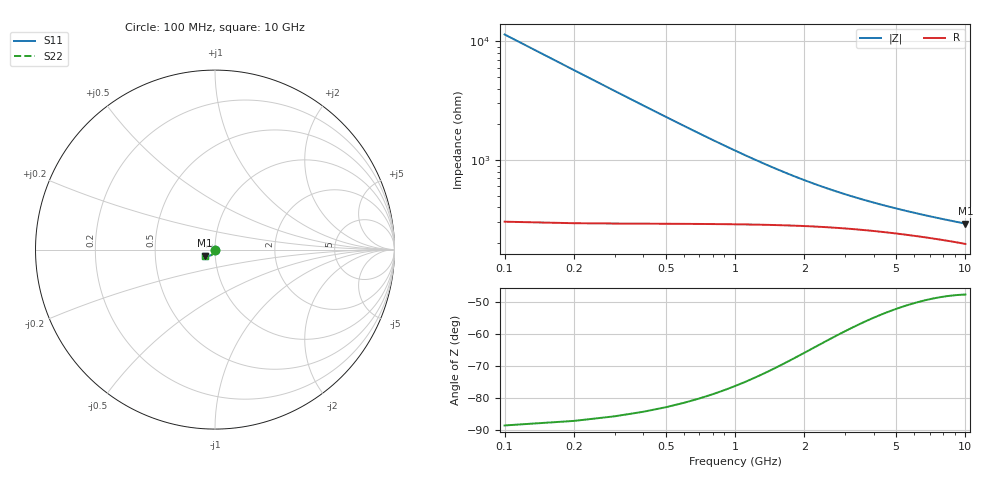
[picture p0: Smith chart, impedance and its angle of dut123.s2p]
! Touchstone file exported from HFSS 2024.1.0
!  File:  C:/UserFiles/LocalFiles/RDL_TSV_Batchsim/temp_TSV1_123_1778753543.aedt
!  Generated:  06:16:03 PM May 14, 2026
!  Design:  TSV1
!  Project:  temp_TSV1_123_1778753543
!  Setup:  Setup1
!  Solution:  Sweep
! Variables:
!  dtsv = 17.46um
!  hbump = 3um
!  htsv = 65.45um
!  lrdl = 252.1521522um
!  p = 40
!  p1 = 48.73um
!  t = 500um
!  trdl = 3um
!  wrdl = 24.89489489um
# GHz S MA R 50.000000
! Terminal data exported
! Port[1] = TSV22_T1
! Port[2] = TSV22_T2
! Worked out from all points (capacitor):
!   100 points, 100 MHz to 10 GHz, reference 50 ohm
!   read as one part in shunt: C = 139 fF near 100 MHz
!   lowest |Z| = 291 ohm at 10 GHz (marker M1)
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0.1  0.001911 -89.7  0.9999 -0.1  0.9999 -0.1  0.001911 -89.7
! Gamma 0 0 0 0
! Port Impedance 50 0 50 0
0.2  0.003813 -92.4  0.9997 -0.3  0.9997 -0.3  0.003813 -92.4
0.3  0.005703 -94.5  0.9994 -0.4  0.9994 -0.4  0.005703 -94.5
0.4  0.007574 -96.3  0.999 -0.6  0.999 -0.6  0.007574 -96.3
0.5  0.009421 -98.1  0.9985 -0.7  0.9985 -0.7  0.009421 -98.1
0.6  0.01124 -99.8  0.9979 -0.8  0.9979 -0.8  0.01124 -99.8
0.7  0.01302 -101.5  0.9972 -0.9  0.9972 -0.9  0.01302 -101.5
0.8  0.01476 -103.1  0.9964 -1.1  0.9964 -1.1  0.01476 -103.1
0.9  0.01647 -104.7  0.9956 -1.2  0.9956 -1.2  0.01647 -104.7
1.1  0.01973 -107.7  0.9937 -1.4  0.9937 -1.4  0.01973 -107.7
1.4  0.02425 -112.0  0.9907 -1.7  0.9907 -1.7  0.02425 -112.0
1.6  0.02701 -114.6  0.9885 -1.9  0.9885 -1.9  0.02701 -114.6
1.8  0.02957 -117.0  0.9864 -2.0  0.9864 -2.0  0.02957 -117.0
2.1  0.03306 -120.2  0.9833 -2.2  0.9833 -2.2  0.03306 -120.2
2.5  0.0371 -124.0  0.9793 -2.5  0.9793 -2.5  0.0371 -124.0
2.9  0.04055 -127.3  0.9756 -2.7  0.9756 -2.7  0.04055 -127.3
3.4  0.04422 -130.7  0.9715 -2.9  0.9715 -2.9  0.04422 -130.7
4.2  0.04898 -135.0  0.9658 -3.2  0.9658 -3.2  0.04898 -135.0
5.1  0.0532 -138.6  0.9605 -3.5  0.9605 -3.5  0.0532 -138.6
6.7  0.05888 -143.2  0.9532 -3.9  0.9532 -3.9  0.05888 -143.2
8.4  0.06325 -146.7  0.9477 -4.4  0.9477 -4.4  0.06325 -146.7
10  0.0663 -149.2  0.9438 -4.8  0.9438 -4.8  0.06631 -149.2
